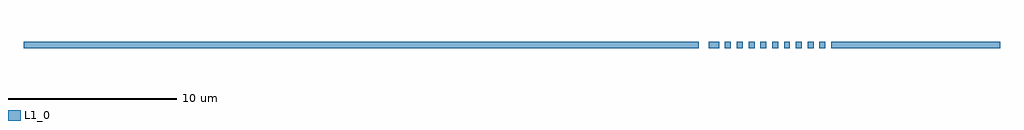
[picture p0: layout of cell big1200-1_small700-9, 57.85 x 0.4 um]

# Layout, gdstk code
import gdstk
lib = gdstk.Library(unit=1e-6, precision=1e-09)
def R(c, l, rs):  # rectangles x0, y0, x1, y1
    for r in rs: c.add(gdstk.rectangle(r[:2], r[2:], *l))
def A(c, l, x, y, w, h, nx, ny, dx, dy):  # array of equal rectangles
    R(c, l, [(x+i*dx, y+j*dy, x+i*dx+w, y+j*dy+h) for i in range(nx) for j in range(ny)])
L1_0 = (1, 0)

big1200_1_small700_9 = lib.new_cell('big1200-1_small700-9')
A(big1200_1_small700_9, L1_0, 1.55, 0, 0.35, 0.4, 9, 1, 0.7, 0)
R(big1200_1_small700_9, L1_0, [(-40,0,0,0.4), (0.6,0,1.2,0.4), (7.85,0,17.85,0.4)])

lib.write_gds('big1200-1_small700-9.gds')
